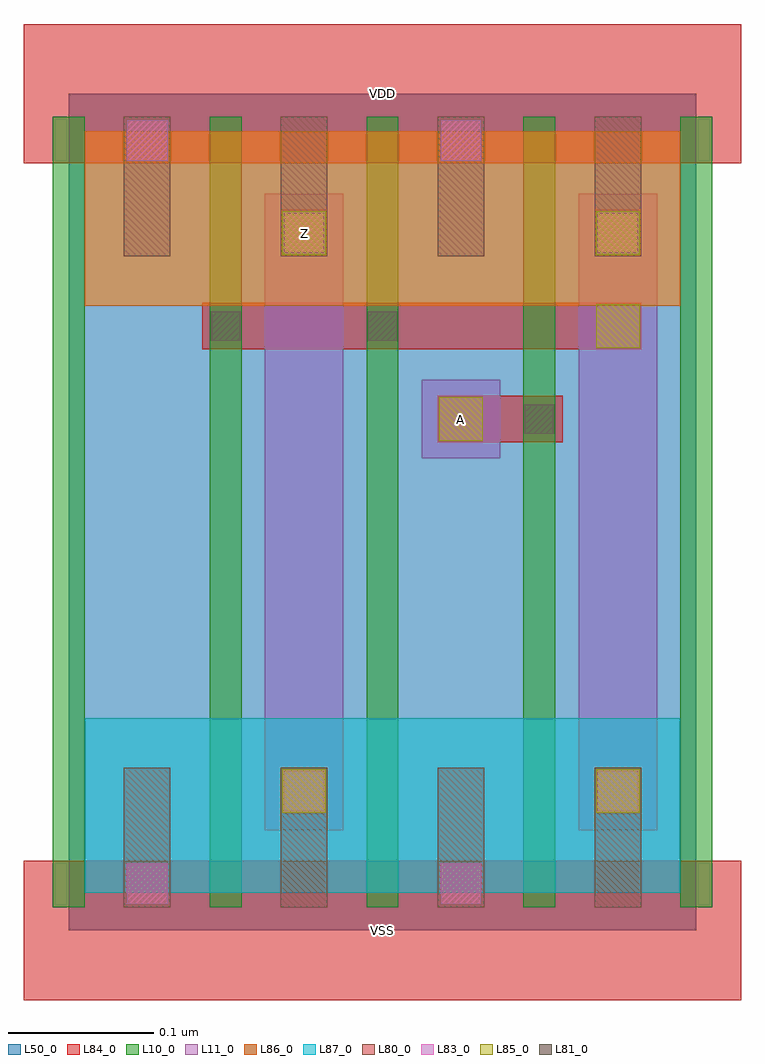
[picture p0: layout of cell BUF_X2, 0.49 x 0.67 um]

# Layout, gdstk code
import gdstk
lib = gdstk.Library(unit=1e-6, precision=1e-09)
def R(c, l, rs):  # rectangles x0, y0, x1, y1
    for r in rs: c.add(gdstk.rectangle(r[:2], r[2:], *l))
def A(c, l, x, y, w, h, nx, ny, dx, dy):  # array of equal rectangles
    R(c, l, [(x+i*dx, y+j*dy, x+i*dx+w, y+j*dy+h) for i in range(nx) for j in range(ny)])
L10_0 = (10, 0)
L11_0 = (11, 0)
L50_0 = (50, 0)
L80_0 = (80, 0)
L81_0 = (81, 0)
L83_0 = (83, 0)
L84_0 = (84, 0)
L85_0 = (85, 0)
L86_0 = (86, 0)
L87_0 = (87, 0)

buf_x2 = lib.new_cell('BUF_X2')
A(buf_x2, L10_0, -0.011, 0.016, 0.022, 0.544, 5, 1, 0.108, 0)
R(buf_x2, L11_0, [(0.135,0.069,0.189,0.507), (0.351,0.069,0.405,0.507), (0.243,0.325,0.297,0.379)])
R(buf_x2, L50_0, [(0,0,0.432,0.576)])
A(buf_x2, L80_0, 0.038, 0.016, 0.032, 0.096, 4, 2, 0.108, 0.448)
R(buf_x2, L81_0, [(0.314,0.342,0.334,0.362), (0.098,0.406,0.118,0.426), (0.206,0.406,0.226,0.426)])
R(buf_x2, L83_0, [(0.04,0.018,0.068,0.046), (0.256,0.018,0.284,0.046), (0.148,0.082,0.176,0.11), (0.364,0.082,0.392,0.11), (0.148,0.466,0.176,0.494), (0.364,0.466,0.392,0.494), (0.04,0.53,0.068,0.558), (0.256,0.53,0.284,0.558)])
R(buf_x2, L84_0, [(-0.031,-0.048,0.463,0.048), (0.146,0.08,0.178,0.112), (0.362,0.08,0.394,0.112), (0.254,0.336,0.34,0.368), (0.092,0.4,0.394,0.432), (0.146,0.464,0.178,0.496), (0.362,0.464,0.394,0.496), (-0.031,0.528,0.463,0.624)])
R(buf_x2, L85_0, [(0.147,0.081,0.177,0.111), (0.363,0.081,0.393,0.111), (0.255,0.337,0.285,0.367), (0.363,0.401,0.393,0.431), (0.147,0.465,0.177,0.495), (0.363,0.465,0.393,0.495)])
R(buf_x2, L86_0, [(0.011,0.43,0.421,0.55)])
R(buf_x2, L87_0, [(0.011,0.026,0.421,0.146)])
buf_x2.add(gdstk.Label('VDD', (0.216,0.576), layer=88, texttype=0))
buf_x2.add(gdstk.Label('VSS', (0.216,0), layer=88, texttype=0))
buf_x2.add(gdstk.Label('Z', (0.162,0.48), layer=31, texttype=0))
buf_x2.add(gdstk.Label('A', (0.27,0.352), layer=31, texttype=0))

lib.write_gds('BUF_X2.gds')
